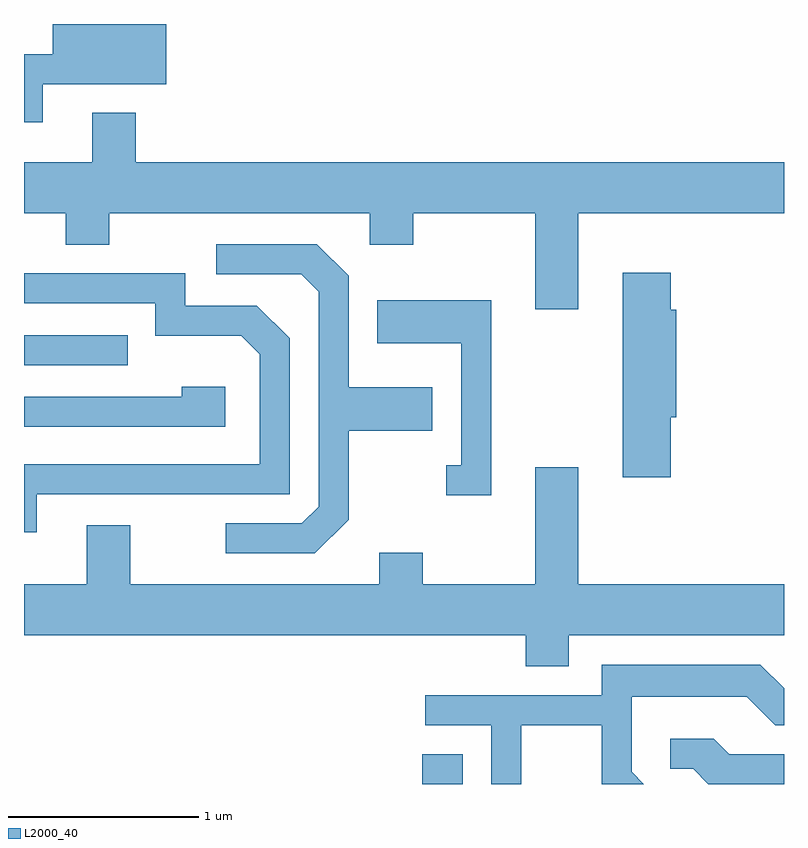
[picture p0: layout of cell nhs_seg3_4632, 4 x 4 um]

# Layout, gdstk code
import gdstk
lib = gdstk.Library(unit=1e-6, precision=1e-09)
def R(c, l, rs):  # rectangles x0, y0, x1, y1
    for r in rs: c.add(gdstk.rectangle(r[:2], r[2:], *l))
def P(c, l, *ps):  # polygons
    for p in ps: c.add(gdstk.Polygon(p, *l))
L2000_40 = (2000, 40)

nhs_seg3_4632 = lib.new_cell('nhs_seg3_4632')
R(nhs_seg3_4632, L2000_40, [(323.706,1131.892,323.919,1132.049), (321.611,1134.096,322.158,1134.254)])
P(nhs_seg3_4632, L2000_40, [(321.709,1135.576),(322.359,1135.576),(322.359,1135.892),(321.761,1135.892),(321.761,1135.734),(321.611,1135.734),(321.611,1135.376),(321.709,1135.376)],
  [(322.059,1134.896),(323.431,1134.896),(323.431,1134.731),(323.659,1134.731),(323.659,1134.896),(324.301,1134.896),(324.301,1134.391),(324.529,1134.391),(324.529,1134.896),(325.611,1134.896),(325.611,1135.164),(322.199,1135.164),(322.199,1135.424),(321.971,1135.424),(321.971,1135.164),(321.611,1135.164),(321.611,1134.896),(321.831,1134.896),(321.831,1134.731),(322.059,1134.731)],
  [(323.319,1133.284),(323.319,1133.751),(323.759,1133.751),(323.759,1133.979),(323.319,1133.979),(323.319,1134.567),(323.152,1134.734),(322.623,1134.734),(322.623,1134.576),(323.069,1134.576),(323.161,1134.484),(323.161,1133.352),(323.074,1133.264),(322.673,1133.264),(322.673,1133.106),(323.142,1133.106)],
  [(325.014,1133.821),(325.044,1133.821),(325.044,1134.389),(325.014,1134.389),(325.014,1134.584),(324.761,1134.584),(324.761,1133.506),(325.014,1133.506)],
  [(321.679,1133.416),(323.009,1133.416),(323.009,1134.237),(322.837,1134.409),(322.459,1134.409),(322.459,1134.579),(321.611,1134.579),(321.611,1134.421),(322.301,1134.421),(322.301,1134.251),(322.754,1134.251),(322.851,1134.154),(322.851,1133.574),(321.611,1133.574),(321.611,1133.218),(321.679,1133.218)],
  [(324.069,1134.439),(323.471,1134.439),(323.471,1134.211),(323.911,1134.211),(323.911,1133.569),(323.833,1133.569),(323.833,1133.411),(324.069,1133.411)],
  [(322.669,1133.984),(322.441,1133.984),(322.441,1133.929),(321.611,1133.929),(321.611,1133.771),(322.669,1133.771)],
  [(324.479,1132.676),(325.611,1132.676),(325.611,1132.944),(324.529,1132.944),(324.529,1133.559),(324.301,1133.559),(324.301,1132.944),(323.709,1132.944),(323.709,1133.109),(323.481,1133.109),(323.481,1132.944),(322.169,1132.944),(322.169,1133.254),(321.941,1133.254),(321.941,1132.944),(321.611,1132.944),(321.611,1132.676),(324.251,1132.676),(324.251,1132.511),(324.479,1132.511)],
  [(324.229,1132.201),(324.651,1132.201),(324.651,1131.892),(324.874,1131.892),(324.809,1131.957),(324.809,1132.351),(325.414,1132.351),(325.564,1132.201),(325.611,1132.201),(325.611,1132.395),(325.487,1132.519),(324.651,1132.519),(324.651,1132.359),(323.723,1132.359),(323.723,1132.201),(324.071,1132.201),(324.071,1131.892),(324.229,1131.892)],
  [(325.611,1132.049),(325.322,1132.049),(325.242,1132.129),(325.013,1132.129),(325.013,1131.971),(325.134,1131.971),(325.213,1131.892),(325.611,1131.892)])

lib.write_gds('nhs_seg3_4632.gds')
